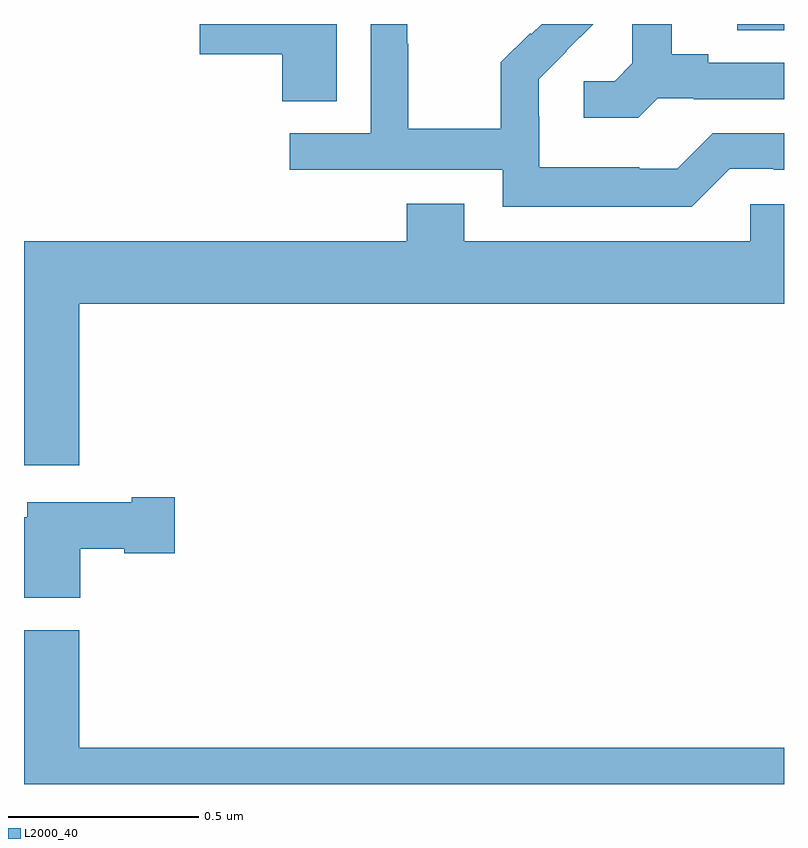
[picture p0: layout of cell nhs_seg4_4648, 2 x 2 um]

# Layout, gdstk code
import gdstk
lib = gdstk.Library(unit=1e-6, precision=1e-09)
def R(c, l, rs):  # rectangles x0, y0, x1, y1
    for r in rs: c.add(gdstk.rectangle(r[:2], r[2:], *l))
def P(c, l, *ps):  # polygons
    for p in ps: c.add(gdstk.Polygon(p, *l))
L2000_40 = (2000, 40)

nhs_seg4_4648 = lib.new_cell('nhs_seg4_4648')
R(nhs_seg4_4648, L2000_40, [(169.877,786.883,170,786.9)])
P(nhs_seg4_4648, L2000_40, [(168.823,786.9),(168.462,786.9),(168.462,786.821),(168.68,786.821),(168.68,786.697),(168.823,786.697)],
  [(169.857,786.519),(169.973,786.519),(169.973,786.516),(170,786.516),(170,786.612),(169.812,786.612),(169.719,786.519),(169.619,786.519),(169.619,786.523),(169.356,786.523),(169.356,786.657),(169.354,786.657),(169.354,786.754),(169.428,786.828),(169.427,786.829),(169.498,786.9),(169.362,786.9),(169.335,786.873),(169.332,786.876),(169.255,786.799),(169.255,786.625),(169.011,786.625),(169.011,786.848),(169.008,786.848),(169.008,786.9),(168.912,786.9),(168.912,786.612),(168.699,786.612),(168.699,786.516),(169.26,786.516),(169.26,786.419),(169.757,786.419)],
  [(169.668,786.705),(169.762,786.705),(169.762,786.702),(170,786.702),(170,786.798),(169.801,786.798),(169.801,786.821),(169.705,786.821),(169.705,786.9),(169.601,786.9),(169.601,786.797),(169.554,786.75),(169.473,786.75),(169.473,786.653),(169.616,786.653)],
  [(168.146,786.164),(170,786.164),(170,786.426),(169.911,786.426),(169.911,786.328),(169.159,786.328),(169.159,786.427),(169.007,786.427),(169.007,786.328),(168,786.328),(168,785.739),(168.146,785.739)],
  [(168.148,785.519),(168.264,785.519),(168.264,785.507),(168.397,785.507),(168.397,785.654),(168.284,785.654),(168.284,785.641),(168.008,785.641),(168.008,785.602),(168,785.602),(168,785.39),(168.148,785.39)],
  [(170,784.996),(168.146,784.996),(168.146,785.305),(168,785.305),(168,784.9),(170,784.9)])

lib.write_gds('nhs_seg4_4648.gds')
